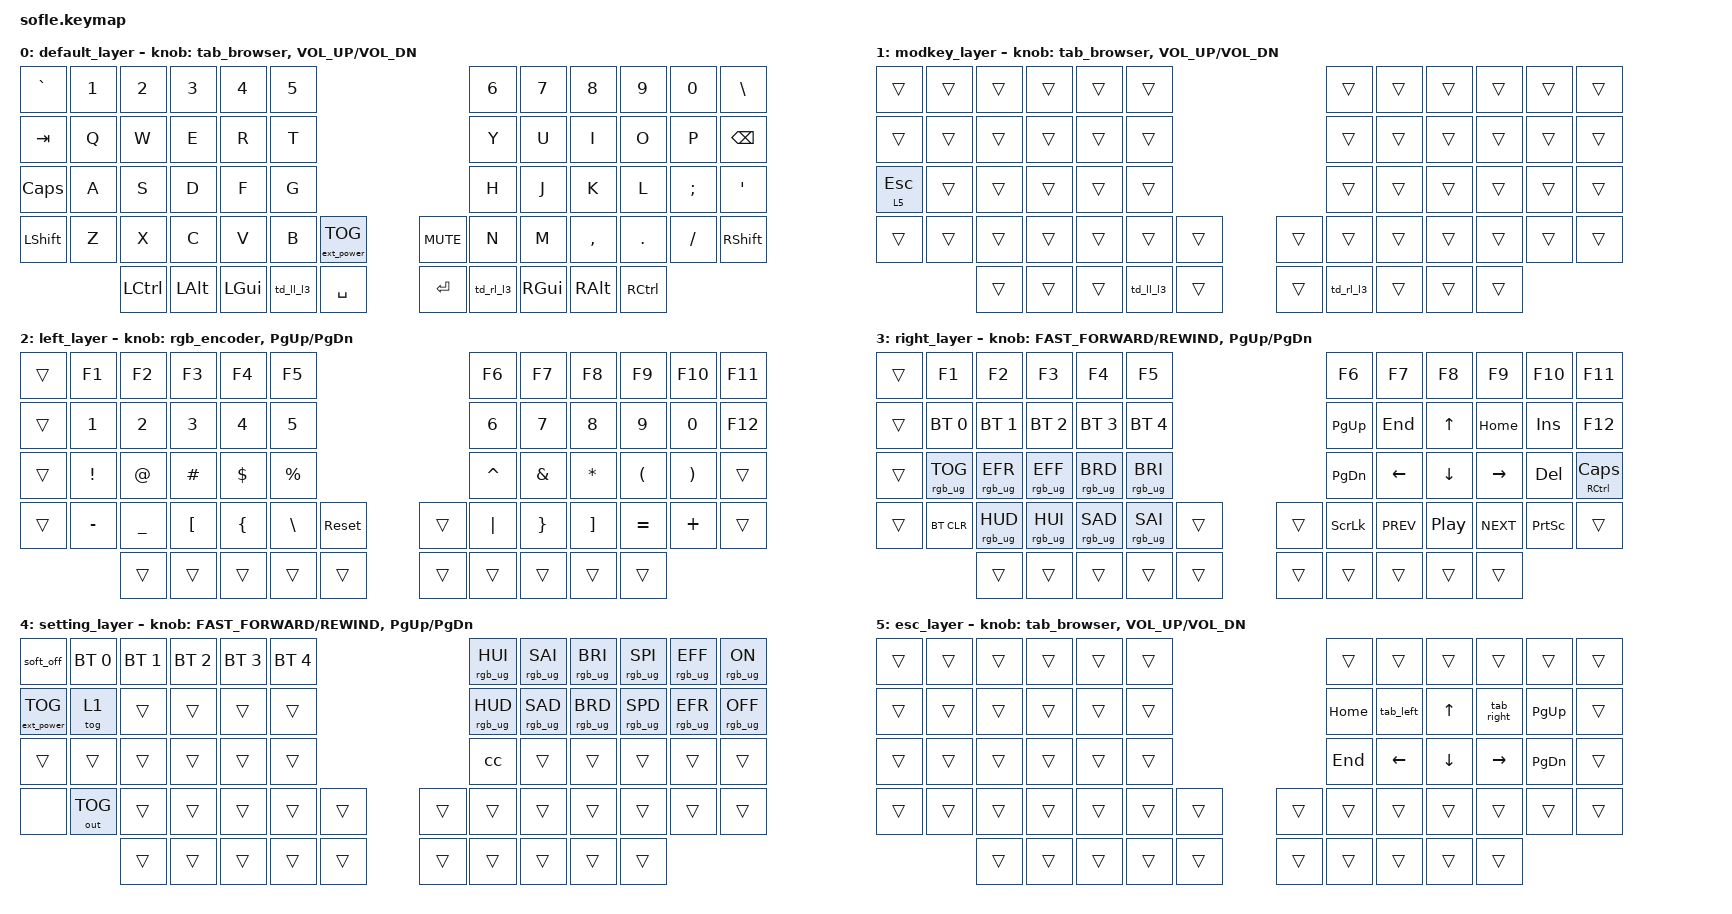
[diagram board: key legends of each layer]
/*
 * Copyright (c) 2020 The ZMK Contributors
 *
 * SPDX-License-Identifier: MIT
 */

#include <behaviors.dtsi>
#include <dt-bindings/zmk/bt.h>
#include <dt-bindings/zmk/ext_power.h>
#include <dt-bindings/zmk/keys.h>
#include <dt-bindings/zmk/outputs.h>
#include <dt-bindings/zmk/rgb.h>

#define BASE 0
#define MOD_LAYER 1
#define LOWER_LAYER 2
#define UP_LAYER 3
#define SETTING_LAYER 4
#define ESC_LAYER 5

//Encoder Support
//Alps Alpine EC11N1524402: 30 Detent, 15PPR, 2 Channel, Quadrature, 15000 Cycle

/ {
    left_encoder: encoder_left {
        compatible = "alps,ec11";
        label = "LEFT_ENCODER";
        a-gpios = <&pro_micro 21 (GPIO_ACTIVE_HIGH | GPIO_PULL_UP)>;
        b-gpios = <&pro_micro 20 (GPIO_ACTIVE_HIGH | GPIO_PULL_UP)>;
        steps = <60>;
    };

    right_encoder: encoder_right {
        compatible = "alps,ec11";
        label = "RIGHT_ENCODER";
        a-gpios = <&pro_micro 21 (GPIO_ACTIVE_HIGH | GPIO_PULL_UP)>;
        b-gpios = <&pro_micro 20 (GPIO_ACTIVE_HIGH | GPIO_PULL_UP)>;
        steps = <60>;
    };

    sensors {
        compatible = "zmk,keymap-sensors";
        sensors = <&left_encoder &right_encoder>;
        triggers-per-rotation = <30>;
    };
};

/ {
    macros {
        // System and Power
        // Microphones
        // Browser Controls

        tab_right: tab_right {
            label = "TAB_RIGHT";
            compatible = "zmk,behavior-macro";
            #binding-cells = <0>;
            wait-ms = <0>;
            tap-ms = <0>;
            bindings = <&kp LS(LG(RIGHT_BRACKET))>;
        };

        tab_left: tab_left {
            label = "TAB_LEFT";
            compatible = "zmk,behavior-macro";
            #binding-cells = <0>;
            wait-ms = <0>;
            tap-ms = <0>;
            bindings = <&kp LG(LS(LEFT_BRACKET))>;
        };

        close_tab: close_tab {
            label = "CLOSE_TAB";
            compatible = "zmk,behavior-macro";
            #binding-cells = <0>;
            wait-ms = <0>;
            tap-ms = <0>;
            bindings = <&kp LG(W)>;
        };

        //Unicode Special Characters
        //Need regkey HKEY_CURRENT_USER\Control Panel\Input Method, REG_SZ EnableHexNumpad = 1
        //Symbols       
        //IPA
        //Diacritical Characters
        // Fractions
        // Operators
    };
};

//Combos, note that key listing is zero indexed
//lshift: 36
//rshift: 49

/ {
    combos {
        compatible = "zmk,combos";

        // Characters
        // Fractions
        // Operators
    };
};

// Mod Morphs, Encoder, Tap-Dances

/ {
    behaviors {
        // Mod Morph
        // RGB

        rgb_bri_sat_inc: rgb_bri_sat_inc {
            compatible = "zmk,behavior-mod-morph";
            label = "RGB_BRIGHTNESS_SATURATION_INCREASE";
            #binding-cells = <0>;
            bindings = <&rgb_ug RGB_SAI>, <&rgb_ug RGB_BRI>;

            mods = <(MOD_LALT|MOD_RALT)>;
        };

        rgb_bri_sat_dec: rgb_bri_sat_dec {
            compatible = "zmk,behavior-mod-morph";
            label = "RGB_BRIGHTNESS_SATURATION_DECREASE";
            #binding-cells = <0>;
            bindings = <&rgb_ug RGB_SAD>, <&rgb_ug RGB_BRD>;

            mods = <(MOD_LALT|MOD_RALT)>;
        };

        rgb_inc: rgb_inc {
            compatible = "zmk,behavior-mod-morph";
            label = "RGB_INCREASE";
            #binding-cells = <0>;
            bindings = <&rgb_ug RGB_HUI>, <&rgb_bri_sat_inc>;

            mods = <(MOD_LSFT|MOD_RSFT|MOD_LCTL|MOD_RCTL)>;
        };

        rgb_dec: rgb_dec {
            compatible = "zmk,behavior-mod-morph";
            label = "RGB_DECREASE";
            #binding-cells = <0>;
            bindings = <&rgb_ug RGB_HUD>, <&rgb_bri_sat_dec>;

            mods = <(MOD_LSFT|MOD_RSFT)>;
        };

        // System Functions  
        // Special Characters - Capitalizations
        // Special Characters - Other
        // Encoder

        rgb_encoder: rgb_encoder {
            compatible = "zmk,behavior-sensor-rotate";
            label = "RGB_ENCODER";
            #sensor-binding-cells = <0>;
            bindings = <&rgb_inc>, <&rgb_dec>;
        };

        tab_browser: tab_browser {
            compatible = "zmk,behavior-sensor-rotate";
            label = "TAB_BROWSER";
            #sensor-binding-cells = <0>;
            bindings = <&tab_left>, <&tab_right>;
        };

        // Tap Dance

        cc: cc {
            compatible = "zmk,behavior-tap-dance";
            label = "COLOR_CYCLE";
            #binding-cells = <0>;
            tapping-term-ms = <200>;
            bindings =
                <&rgb_ug RGB_COLOR_HSB(0,100,20)>,
                <&rgb_ug RGB_COLOR_HSB(10,100,20)>,
                <&rgb_ug RGB_COLOR_HSB(35,100,20)>,
                <&rgb_ug RGB_COLOR_HSB(120,100,20)>,
                <&rgb_ug RGB_COLOR_HSB(240,100,20)>,
                <&rgb_ug RGB_COLOR_HSB(285,100,20)>;
        };

        td_btr: td_btr {
            compatible = "zmk,behavior-tap-dance";
            label = "TAP_DANCE_BLUE_TOOTH_RELEASE";
            #binding-cells = <0>;
            tapping-term-ms = <200>;
            bindings = <&kp ESC>, <&bt BT_CLR>;
        };

        td_ll_l3: td_ll_l3 {
            compatible = "zmk,behavior-tap-dance";
            label = "TAP_LEFT_LAYER_LAYER_3";
            #binding-cells = <0>;
            tapping-term-ms = <200>;
            bindings = <&mo 2>, <&tog 2>;
        };

        td_rl_l3: td_rl_l3 {
            compatible = "zmk,behavior-tap-dance";
            label = "TAP_RIGHT_LAYER_LAYER_3";
            #binding-cells = <0>;
            tapping-term-ms = <200>;
            bindings = <&mo 3>, <&tog 3>;
        };
    };

    keymap {
        compatible = "zmk,keymap";

        default_layer {
            // ------------------------------------------------------------------------------------------------------------
            // |  ESC  |  1  |  2  |  3   |  4   |  5   |                    |  6   |  7    |  8    |  9   |   0   | DEL   |
            // |  TAB  |  Q  |  W  |  E   |  R   |  T   |                    |  Y   |  U    |  I    |  O   |   P   | BKSPC |
            // | CAPS  |  A  |  S  |  D   |  F   |  G   |                    |  H   |  J    |  K    |  L   |   ;   |   '   |
            // | SHIFT |  Z  |  X  |  C   |  V   |  B   |MUTE SPK|  |ClS  TAB|  N   |  M    |  ,    |  .   |   /   | SHIFT |
            //               | GUI | ALT  | CTRL | LOWER|  ENTER |  | SPACE  | RAISE| CTRL  | ALT   | GUI  |

            bindings = <
&kp GRAVE   &kp N1  &kp N2     &kp N3    &kp N4        &kp N5                                      &kp N6     &kp N7    &kp N8     &kp N9     &kp N0    &kp BACKSLASH
&kp TAB     &kp Q   &kp W      &kp E     &kp R         &kp T                                       &kp Y      &kp U     &kp I      &kp O      &kp P     &kp BSPC
&kp CAPS    &kp A   &kp S      &kp D     &kp F         &kp G                                       &kp H      &kp J     &kp K      &kp L      &kp SEMI  &kp SQT
&kp LSHIFT  &kp Z   &kp X      &kp C     &kp V         &kp B      &ext_power EP_TOG    &kp C_MUTE  &kp N      &kp M     &kp COMMA  &kp DOT    &kp FSLH  &kp RSHFT
                    &kp LCTRL  &kp LALT  &kp LEFT_GUI  &td_ll_l3  &kp SPACE            &kp RET     &td_rl_l3  &kp RGUI  &kp RALT   &kp RCTRL
            >;

            sensor-bindings = <&tab_browser &inc_dec_kp C_VOL_UP C_VOL_DN>;
        };

        modkey_layer {
            // ------------------------------------------------------------------------------------------------------------
            // |  ESC  |  1  |  2  |  3   |  4   |  5   |                    |  6   |  7    |  8    |  9   |   0   | DEL   |
            // |  TAB  |  Q  |  W  |  E   |  R   |  T   |                    |  Y   |  U    |  I    |  O   |   P   | BKSPC |
            // | CAPS  |  A  |  S  |  D   |  F   |  G   |                    |  H   |  J    |  K    |  L   |   ;   |   '   |
            // | SHIFT |  Z  |  X  |  C   |  V   |  B   |MUTE SPK|  |ClS  TAB|  N   |  M    |  ,    |  .   |   /   | SHIFT |
            //               | GUI | ALT  | CTRL | LOWER|  ENTER |  | SPACE  | RAISE| CTRL  | ALT   | GUI  |

            bindings = <
&trans     &trans  &trans  &trans  &trans  &trans                       &trans     &trans  &trans  &trans  &trans  &trans
&trans     &trans  &trans  &trans  &trans  &trans                       &trans     &trans  &trans  &trans  &trans  &trans
&lt 5 ESC  &trans  &trans  &trans  &trans  &trans                       &trans     &trans  &trans  &trans  &trans  &trans
&trans     &trans  &trans  &trans  &trans  &trans     &trans    &trans  &trans     &trans  &trans  &trans  &trans  &trans
                   &trans  &trans  &trans  &td_ll_l3  &trans    &trans  &td_rl_l3  &trans  &trans  &trans
            >;

            sensor-bindings = <&tab_browser &inc_dec_kp C_VOL_UP C_VOL_DN>;
        };

        left_layer {
            bindings = <
&trans  &kp F1     &kp F2     &kp F3    &kp F4    &kp F5                           &kp F6     &kp F7    &kp F8        &kp F9     &kp F10   &kp F11
&trans  &kp N1     &kp N2     &kp N3    &kp N4    &kp N5                           &kp N6     &kp N7    &kp N8        &kp N9     &kp N0    &kp F12
&trans  &kp EXCL   &kp AT     &kp HASH  &kp DLLR  &kp PRCNT                        &kp CARET  &kp AMPS  &kp ASTERISK  &kp LPAR   &kp RPAR  &trans
&trans  &kp MINUS  &kp UNDER  &kp LBKT  &kp LBRC  &kp BSLH   &sys_reset    &trans  &kp PIPE   &kp RBRC  &kp RBKT      &kp EQUAL  &kp PLUS  &trans
                   &trans     &trans    &trans    &trans     &trans        &trans  &trans     &trans    &trans        &trans
            >;

            sensor-bindings = <&rgb_encoder &inc_dec_kp PG_UP PG_DN>;
        };

        right_layer {
            bindings = <
&trans  &kp F1           &kp F2           &kp F3           &kp F4           &kp F5                             &kp F6     &kp F7      &kp F8    &kp F9      &kp F10    &kp F11
&trans  &bt BT_SEL 0     &bt BT_SEL 1     &bt BT_SEL 2     &bt BT_SEL 3     &bt BT_SEL 4                       &kp PG_UP  &kp END     &kp UP    &kp HOME    &kp INS    &kp F12
&trans  &rgb_ug RGB_TOG  &rgb_ug RGB_EFR  &rgb_ug RGB_EFF  &rgb_ug RGB_BRD  &rgb_ug RGB_BRI                    &kp PG_DN  &kp LEFT    &kp DOWN  &kp RIGHT   &kp DEL    &mt RCTRL CLCK
&trans  &bt BT_CLR       &rgb_ug RGB_HUD  &rgb_ug RGB_HUI  &rgb_ug RGB_SAD  &rgb_ug RGB_SAI  &trans    &trans  &kp SLCK   &kp C_PREV  &kp C_PP  &kp C_NEXT  &kp PSCRN  &trans
                         &trans           &trans           &trans           &trans           &trans    &trans  &trans     &trans      &trans    &trans
            >;

            sensor-bindings = <&inc_dec_kp C_FAST_FORWARD C_REWIND &inc_dec_kp PG_UP PG_DN>;
        };

        setting_layer {
            // ------------------------------------------------------------------------------------------------------------
            // |BTCLR| BT1  | BT2  |  BT3  |  BT4  |  BT5 |                | HUE+ |  =  |   /   |   *  |   -   | EFF+ |
            // |BRI+ | PSCR | INS  |   ↑   |   @   |   %  |                | HUE- |  7  |   8   |   9  |   +   | BKSP |
            // |BRI- | RGB  |  ←   |   ↓   |   →   |   $  |                | SAT+ |  4  |   5   |   6  |   +   | SPD+ |
            // |TASK |BT/USB|      |  PREV |  NEXT |   #  |PL/PS |  |      | SAT- |  1  |   2   |   3  | ENTER | SPD- |
            //              |      |       |       |      |      |  |      |  0   |  0  |   0   |   .  |

            bindings = <
&soft_off          &bt BT_SEL 0  &bt BT_SEL 1  &bt BT_SEL 2  &bt BT_SEL 3  &bt BT_SEL 4                    &rgb_ug RGB_HUI  &rgb_ug RGB_SAI  &rgb_ug RGB_BRI  &rgb_ug RGB_SPI  &rgb_ug RGB_EFF  &rgb_ug RGB_ON
&ext_power EP_TOG  &tog 1        &trans        &trans        &trans        &trans                          &rgb_ug RGB_HUD  &rgb_ug RGB_SAD  &rgb_ug RGB_BRD  &rgb_ug RGB_SPD  &rgb_ug RGB_EFR  &rgb_ug RGB_OFF
&trans             &trans        &trans        &trans        &trans        &trans                          &cc              &trans           &trans           &trans           &trans           &trans
&none              &out OUT_TOG  &trans        &trans        &trans        &trans        &trans    &trans  &trans           &trans           &trans           &trans           &trans           &trans
                                 &trans        &trans        &trans        &trans        &trans    &trans  &trans           &trans           &trans           &trans
            >;

            sensor-bindings = <&inc_dec_kp C_FAST_FORWARD C_REWIND &inc_dec_kp PG_UP PG_DN>;
        };

        esc_layer {
            bindings = <
&trans  &trans  &trans  &trans  &trans  &trans                    &trans    &trans     &trans    &trans      &trans     &trans
&trans  &trans  &trans  &trans  &trans  &trans                    &kp HOME  &tab_left  &kp UP    &tab_right  &kp PG_UP  &trans
&trans  &trans  &trans  &trans  &trans  &trans                    &kp END   &kp LEFT   &kp DOWN  &kp RIGHT   &kp PG_DN  &trans
&trans  &trans  &trans  &trans  &trans  &trans  &trans    &trans  &trans    &trans     &trans    &trans      &trans     &trans
                &trans  &trans  &trans  &trans  &trans    &trans  &trans    &trans     &trans    &trans
            >;

            sensor-bindings = <&tab_browser &inc_dec_kp C_VOL_UP C_VOL_DN>;
        };
    };

    conditional_layers {
        compatible = "zmk,conditional-layers";

        settings {
            if-layers = <2 3>;
            then-layer = <4>;
        };
    };
};
